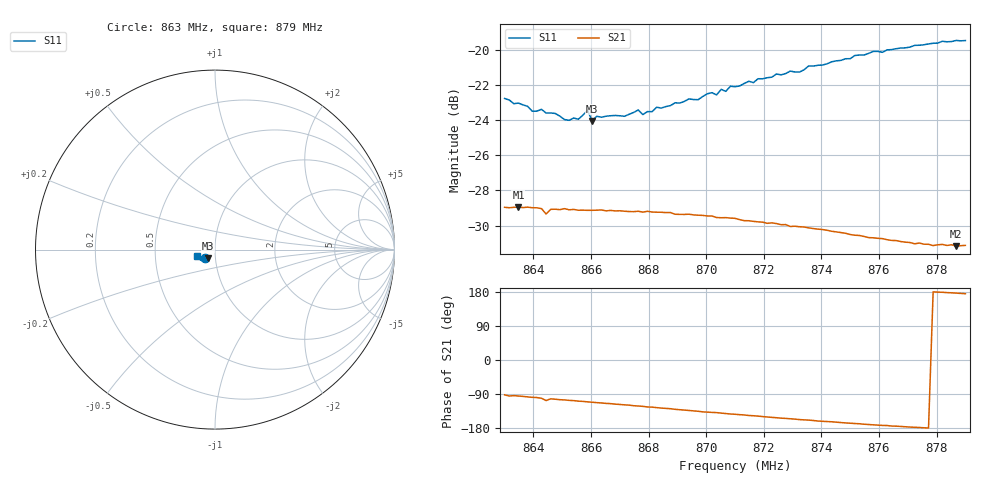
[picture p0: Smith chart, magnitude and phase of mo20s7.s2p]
# HZ S RI R 50
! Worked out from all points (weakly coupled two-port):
!   101 points, 863 MHz to 879 MHz, reference 50 ohm
!   highest |S21| = -28.95 dB at 863.48 MHz (marker M1); lowest = -31.2 dB at 878.68 MHz (marker M2)
!   lowest |S11| = -24.0 dB at 866.04 MHz (marker M3), VSWR 1.13, Z = 45.9 - j4.45 ohm
!   |S11| at or under -10 dB: start of sweep to end of sweep
!   S12 and S22 are empty: the file has one direction only
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8.63e8  -0.0541 -0.0488  -0.00116 -0.0356  0 0  0 0
8.6348e8  -0.0516 -0.0483  -0.00317 -0.0355  0 0  0 0
8.6396e8  -0.0479 -0.0469  -0.00528 -0.0352  0 0  0 0
8.6428e8  -0.0473 -0.0487  -0.00673 -0.0347  0 0  0 0
8.6444e8  -0.0474 -0.0463  -0.00998 -0.0326  0 0  0 0
8.646e8  -0.046 -0.0476  -0.00757 -0.0343  0 0  0 0
8.6508e8  -0.0425 -0.0471  -0.00935 -0.0341  0 0  0 0
8.6556e8  -0.0426 -0.0472  -0.0111 -0.0331  0 0  0 0
8.6572e8  -0.0427 -0.0494  -0.0116 -0.033  0 0  0 0
8.6588e8  -0.0447 -0.0504  -0.0122 -0.0327  0 0  0 0
8.6604e8  -0.0403 -0.0483  -0.0128 -0.0325  0 0  0 0
8.662e8  -0.0416 -0.0497  -0.0134 -0.0323  0 0  0 0
8.6716e8  -0.0386 -0.0521  -0.0165 -0.0306  0 0  0 0
8.6764e8  -0.0406 -0.054  -0.0181 -0.0296  0 0  0 0
8.678e8  -0.039 -0.0527  -0.0185 -0.0292  0 0  0 0
8.6844e8  -0.0398 -0.0557  -0.0207 -0.0276  0 0  0 0
8.7036e8  -0.0441 -0.0602  -0.0251 -0.0219  0 0  0 0
8.71e8  -0.0482 -0.0623  -0.0265 -0.0199  0 0  0 0
8.7372e8  -0.0634 -0.0641  -0.0291 -0.0108  0 0  0 0
8.7644e8  -0.084 -0.0551  -0.0285 -0.00284  0 0  0 0
8.7868e8  -0.0994 -0.0387  -0.0276 0.00168  0 0  0 0
8.79e8  -0.1005 -0.0355  -0.0276 0.00249  0 0  0 0
